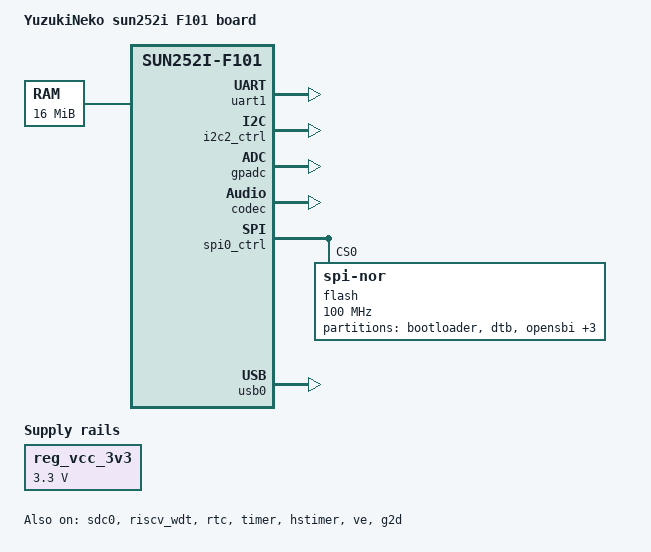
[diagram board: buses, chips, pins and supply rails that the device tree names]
/*
 * Copyright (c) 2006-2026, RT-Thread Development Team
 *
 * SPDX-License-Identifier: Apache-2.0
 */

#include <rtconfig.h>
#include "sun252i-f101.dtsi"

/ {
    model = "YuzukiNeko sun252i F101 board";
    compatible = "allwinner,sun252i-f101-yuzukineko", "allwinner,sun252i-f101";

    reg_vcc_3v3: regulator-3v3 {
        compatible = "regulator-fixed";
        regulator-name = "vcc-3v3";
        regulator-min-microvolt = <3300000>;
        regulator-max-microvolt = <3300000>;
        regulator-always-on;
    };

    cpu_opp_table: cpu-opp-table {
        compatible = "operating-points-v2";
        opp-shared;

        opp-480000000 {
            opp-hz = /bits/ 64 <480000000>;
            opp-suspend;
        };

        /* The boot firmware starts at 696 MHz; this is the highest CPU OPP. */
        opp-1008000000 {
            opp-hz = /bits/ 64 <1008000000>;
        };
    };

    chosen {
    #ifdef ARCH_RISCV_M_MODE
        bootargs = "earlycon=uart8250,mmio32,0x02500400 console=ttyS1,115200n8";
    #elif defined(ARCH_MM_MMU)
        bootargs = "earlycon=sbi console=ttyS1,115200n8 cma=4M coherent_pool=512K";
    #else
        bootargs = "earlycon=sbi console=ttyS1,115200n8";
    #endif
        stdout-path = "serial1:115200n8";
    };

    memory@40000000 {
        device_type = "memory";
        reg = <0x0 0x40000000 0x0 0x01000000>;
    };

    reserved-memory {
        #address-cells = <2>;
        #size-cells = <2>;
        ranges;

        #ifndef ARCH_RISCV_M_MODE
        opensbi@40000000 {
            reg = <0x0 0x40000000 0x0 0x000c0000>;
            no-map;
        };
        #endif

        #ifndef ARCH_MM_MMU
        dma_pool: dma-pool@40c00000 {
            compatible = "rt-thread,dma-pool", "shared-dma-pool";
            reg = <0x0 0x40c00000 0x0 0x00400000>;
        };
        #endif
    };
};

&cpu0 {
    operating-points-v2 = <&cpu_opp_table>;
};

/* USB Type-C debug UART on the board's SBU pins. */
&uart1 {
    pinctrl-names = "default";
    pinctrl-0 = <&uart1_pb_pins>;
    status = "okay";
};

/* The 40-pin header exposes this I2C controller on PB2/PB3. */
&i2c2_ctrl {
    pinctrl-names = "default";
    pinctrl-0 = <&i2c2_pb_pins>;
    status = "okay";
};

/* The on-board microSD socket is a removable 3.3 V SD card slot. */
&sdc0 {
    vmmc-supply = <&reg_vcc_3v3>;
    vqmmc-supply = <&reg_vcc_3v3>;
    status = "okay";
};

&riscv_wdt {
    status = "okay";
};

&thermal {
    status = "okay";
};

&rtc {
    status = "okay";
};

&gpadc {
    status = "okay";
};

&timer {
    status = "okay";
};

&hstimer {
    status = "okay";
};

/* The integrated codec drives the on-board speaker through PI7. */
&dma {
    status = "okay";
};

&codec {
    spk-enable-gpios = <&pio 8 7 PIN_ACTIVE_HIGH>;
    allwinner,spk-enable-delay-ms = <10>;
    status = "okay";
};

&ve {
    status = "okay";
};

&g2d {
    status = "okay";
};

/* The board boots from this 16 MiB SPI NOR device. */
&spi0_ctrl {
    pinctrl-names = "default";
    pinctrl-0 = <&spi0_pc_pins>;
    status = "okay";

    flash@0 {
        compatible = "jedec,spi-nor";
        reg = <0>;
        spi-max-frequency = <100000000>;
        spi-rx-bus-width = <1>;
        spi-tx-bus-width = <1>;

        partitions {
            compatible = "fixed-partitions";
            #address-cells = <1>;
            #size-cells = <1>;

            bootloader@0 {
                label = "bootloader";
                reg = <0x000000 0x010000>;
                read-only;
            };

            dtb@10000 {
                label = "dtb";
                reg = <0x010000 0x040000>;
                read-only;
            };

            opensbi@50000 {
                label = "opensbi";
                reg = <0x050000 0x080000>;
                read-only;
            };

            kernel@d0000 {
                label = "kernel";
                reg = <0x0d0000 0x600000>;
                read-only;
            };

            rootfs@6d0000 {
                label = "rootfs";
                reg = <0x6d0000 0x830000>;
                read-only;
            };

            overlay@f00000 {
                label = "overlay";
                reg = <0xf00000 0x100000>;
            };
        };
    };
};

/* The Type-C connector is wired to the OTG controller in device mode. */
&usb0 {
    status = "okay";
};
